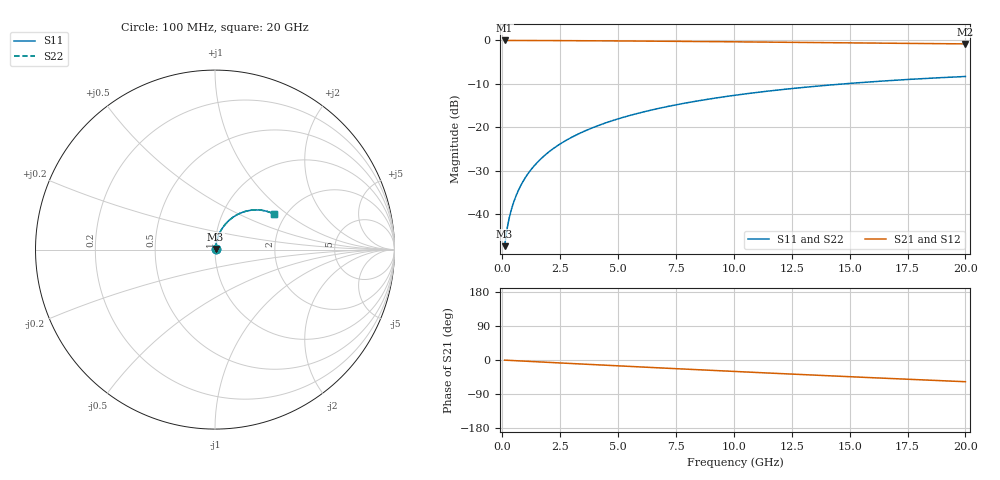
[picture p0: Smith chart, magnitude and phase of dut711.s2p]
! Touchstone file exported from HFSS 2026.1.0
!  File:  C:/ffzhzh/LocalFiles/Ansys_Project_Files/temp_train_BSMRDL_711_1783168205_22436.aedt
!  Generated:  08:31:26 PM Jul  4, 2026
!  Design:  BSMRDL
!  Project:  temp_train_BSMRDL_711_1783168205_22436
! Variables:
!  h_bsmrdl = 4.05um
!  h_ox = 20um
!  h_rdl = 5um
!  h_sub = 80um
!  h_tmrdl = 5um
!  h_tsv = 80um
!  h_via = 3um
!  l_bsmrdl = 928.54um
!  l_sub = 1328.54um
!  l_tmrdl = 200um
!  m_sub = 200um
!  pitch = 50.84um
!  r_tsv = 6um
!  s_tmrdl = 10um
!  w_bsmrdl = 28.87um
!  w_sub = 500um
!  w_tmrdl = 12um
!  x_tsv_center1 = 206um
!  x_tsv_center2 = 1163.41um
!  x_tsv_center3 = 1375.41um
!  x_tsv_center4 = 2332.82um
!  x_tsv_center5 = 2544.82um
!  x_tsv_center6 = 3502.23um
# GHz S MA R 50.000000
! Terminal data exported
! Port[1] = BSM_RDL1_1_T1
! Port[2] = BSM_RDL1_1_T2
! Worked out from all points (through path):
!   200 points, 100 MHz to 20 GHz, reference 50 ohm
!   highest |S21| = -0.03 dB at 100 MHz (marker M1); lowest = -0.8 dB at 20 GHz (marker M2)
!   group delay of S21, straight-line fit = 7.96 ps
!   lowest |S11| = -47.3 dB at 100 MHz (marker M3), VSWR 1.01, Z = 50.3 + j0.299 ohm
!   |S11| at or under -10 dB: start of sweep to 14.78 GHz
!   |S22| runs from -47.3 to -8.3 dB; largest |S21 - S12| = 8.7e-15
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0.1  0.004296 43.7  0.9969 -0.3  0.9969 -0.3  0.004296 43.7
! Gamma 0 0 0 0
! Port Impedance 50 0 50 0
0.2  0.00667 58.9  0.9966 -0.7  0.9966 -0.7  0.00667 58.9
0.3  0.009104 65.6  0.9963 -1.0  0.9963 -1.0  0.009104 65.6
0.4  0.01154 69.6  0.9962 -1.3  0.9962 -1.3  0.01154 69.6
0.5  0.01398 72.2  0.996 -1.6  0.996 -1.6  0.01398 72.2
0.6  0.01645 74.1  0.9959 -1.9  0.9959 -1.9  0.01645 74.1
0.8  0.02145 76.4  0.9957 -2.5  0.9957 -2.5  0.02145 76.4
1.1  0.02902 78.1  0.9953 -3.5  0.9953 -3.5  0.02902 78.1
1.3  0.03409 78.6  0.9951 -4.1  0.9951 -4.1  0.03409 78.6
1.6  0.0417 78.8  0.9946 -5.0  0.9946 -5.0  0.0417 78.8
2.1  0.05435 78.3  0.9937 -6.6  0.9937 -6.6  0.05435 78.3
2.7  0.06939 77.2  0.9923 -8.4  0.9923 -8.4  0.0694 77.2
3.5  0.08915 75.3  0.9901 -10.9  0.9901 -10.9  0.08915 75.3
4.2  0.1061 73.4  0.9878 -13.0  0.9878 -13.0  0.1061 73.4
5  0.125 71.2  0.9849 -15.4  0.9849 -15.4  0.1251 71.2
5.9  0.1458 68.7  0.9813 -18.1  0.9813 -18.1  0.1458 68.7
6.8  0.166 66.2  0.9775 -20.8  0.9775 -20.8  0.166 66.2
8.3  0.1983 62.0  0.9705 -25.2  0.9705 -25.2  0.1983 62.0
10.1  0.2346 57.0  0.9615 -30.4  0.9615 -30.4  0.2347 57.0
13.4  0.2942 48.0  0.944 -39.7  0.944 -39.7  0.2943 48.1
16.7  0.3441 39.4  0.9265 -48.7  0.9265 -48.7  0.3442 39.4
20  0.384 30.9  0.9106 -57.3  0.9106 -57.3  0.384 31.0
